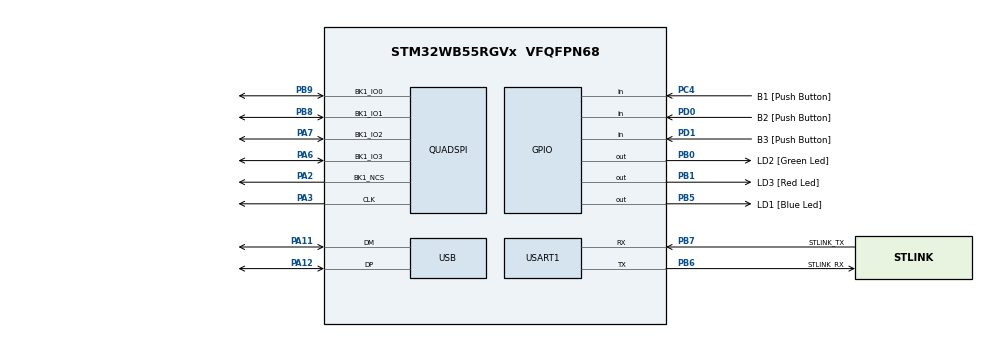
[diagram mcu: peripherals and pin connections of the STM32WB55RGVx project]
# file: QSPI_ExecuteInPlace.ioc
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Dma.QUADSPI.0.Direction=DMA_PERIPH_TO_MEMORY
Dma.QUADSPI.0.EventEnable=DISABLE
Dma.QUADSPI.0.Instance=DMA1_Channel5
Dma.QUADSPI.0.MemDataAlignment=DMA_MDATAALIGN_BYTE
Dma.QUADSPI.0.MemInc=DMA_MINC_ENABLE
Dma.QUADSPI.0.Mode=DMA_NORMAL
Dma.QUADSPI.0.PeriphDataAlignment=DMA_PDATAALIGN_BYTE
Dma.QUADSPI.0.PeriphInc=DMA_PINC_DISABLE
Dma.QUADSPI.0.Polarity=HAL_DMAMUX_REQ_GEN_RISING
Dma.QUADSPI.0.Priority=DMA_PRIORITY_LOW
Dma.QUADSPI.0.RequestNumber=1
Dma.QUADSPI.0.SignalID=NONE
Dma.QUADSPI.0.SyncEnable=DISABLE
Dma.QUADSPI.0.SyncPolarity=HAL_DMAMUX_SYNC_NO_EVENT
Dma.QUADSPI.0.SyncRequestNumber=1
Dma.QUADSPI.0.SyncSignalID=NONE
Dma.Request0=QUADSPI
Mcu.Family=STM32WB
Mcu.Name=STM32WB55RGVx
Mcu.Package=VFQFPN68
NVIC.DMA1_Channel5_IRQn=true\:0\:0\:false\:false\:true\:false\:true
NVIC.PriorityGroup=NVIC_PRIORITYGROUP_4
NVIC.QUADSPI_IRQn=true\:0\:0\:false\:false\:true\:true\:true
OSC_IN.Mode=HSE-External-Oscillator
OSC_IN.Signal=RCC_OSC_IN
OSC_OUT.Mode=HSE-External-Oscillator
OSC_OUT.Signal=RCC_OSC_OUT
PA11.Mode=Device
PA11.Signal=USB_DM
PA12.Mode=Device
PA12.Signal=USB_DP
PA13.GPIO_Label=JTMS
PA13.Mode=Trace_Asynchronous_SW
PA13.Signal=SYS_JTMS-SWDIO
PA14.GPIO_Label=JTCK
PA14.Mode=Trace_Asynchronous_SW
PA14.Signal=SYS_JTCK-SWCLK
PA2.GPIO_PuPd=GPIO_PULLUP
PA2.GPIO_Speed=GPIO_SPEED_FREQ_VERY_HIGH
PA2.Mode=Single Bank 1
PA2.Signal=QUADSPI_BK1_NCS
PA3.GPIO_Speed=GPIO_SPEED_FREQ_VERY_HIGH
PA3.Mode=Single Bank 1
PA3.Signal=QUADSPI_CLK
PA6.GPIO_Speed=GPIO_SPEED_FREQ_VERY_HIGH
PA6.Mode=Single Bank 1
PA6.Signal=QUADSPI_BK1_IO3
PA7.GPIO_Speed=GPIO_SPEED_FREQ_VERY_HIGH
PA7.Mode=Single Bank 1
PA7.Signal=QUADSPI_BK1_IO2
PB0.GPIO_Label=LD2 [Green Led]
PB0.Signal=GPIO_Output
PB1.GPIO_Label=LD3 [Red Led]
PB1.Signal=GPIO_Output
PB3.GPIO_Label=JTDO
PB3.Mode=Trace_Asynchronous_SW
PB3.Signal=SYS_JTDO-SWO
PB5.GPIO_Label=LD1 [Blue Led]
PB5.Signal=GPIO_Output
PB6.GPIO_Label=STLINK_RX
PB6.GPIO_PuPd=GPIO_PULLUP
PB6.Mode=Asynchronous
PB6.Signal=USART1_TX
PB7.GPIO_Label=STLINK_TX
PB7.GPIO_PuPd=GPIO_PULLUP
PB7.Mode=Asynchronous
PB7.Signal=USART1_RX
PB8.GPIO_Speed=GPIO_SPEED_FREQ_VERY_HIGH
PB8.Mode=Single Bank 1
PB8.Signal=QUADSPI_BK1_IO1
PB9.GPIO_Speed=GPIO_SPEED_FREQ_VERY_HIGH
PB9.Mode=Single Bank 1
PB9.Signal=QUADSPI_BK1_IO0
PC13.Mode=SYS_WakeUp1
PC13.Signal=SYS_WKUP2
PC14-OSC32_IN.Mode=LSE-External-Oscillator
PC14-OSC32_IN.Signal=RCC_OSC32_IN
PC15-OSC32_OUT.Mode=LSE-External-Oscillator
PC15-OSC32_OUT.Signal=RCC_OSC32_OUT
PC4.GPIO_Label=B1 [Push Button]
PC4.Signal=GPIO_Input
PD0.GPIO_Label=B2 [Push Button]
PD0.Signal=GPIO_Input
PD1.GPIO_Label=B3 [Push Button]
PD1.Signal=GPIO_Input
ProjectManager.HeapSize=0x200
ProjectManager.StackSize=0x400
ProjectManager.TargetToolchain=EWARM V8
QUADSPI.ClockPrescaler=2
QUADSPI.FifoThreshold=4
QUADSPI.FlashSize=22
QUADSPI.SampleShifting=QSPI_SAMPLE_SHIFTING_HALFCYCLE
RCC.ADCFreq_Value=48000000
RCC.AHB2CLKDivider=RCC_SYSCLK_DIV2
RCC.AHBFreq_Value=64000000
RCC.APB1Freq_Value=64000000
RCC.APB1TimFreq_Value=64000000
RCC.APB2Freq_Value=64000000
RCC.APB2TimFreq_Value=64000000
RCC.APB3Freq_Value=16000000
RCC.CortexFreq_Value=64000000
RCC.HCLKFreq_Value=64000000
RCC.HSE_VALUE=32000000
RCC.HSI48_VALUE=48000000
RCC.HSI_VALUE=16000000
RCC.PLLN=32
RCC.PLLSAI1N=24
RCC.SMPSCLockSelectionVirtual=RCC_SMPSCLKSOURCE_HSI
RCC.SMPSCLockSelectionVirtualVirtual=RCC_SMPSCLKSOURCE_HSI
RCC.SYSCLKFreq_VALUE=64000000
RCC.SYSCLKSource=RCC_SYSCLKSOURCE_PLLCLK
RCC.USBFreq_Value=48000000
RCC.VCOOutputFreq_Value=128000000
USART1.VirtualMode-Asynchronous=VM_ASYNC
USART1.WordLength=WORDLENGTH_7B
USB.Sof_enable=DISABLE
board=P-NUCLEO-WB55.Nucleo

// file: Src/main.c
/* USER CODE BEGIN Header */
/**
  ******************************************************************************
  * @file    QSPI/QSPI_ExecuteInPlace/Src/main.c
  * @author  MCD Application Team
  * @brief   This sample code shows how to erase part of the QSPI memory, write
  *          data in DMA mode and access to QSPI memory in memory-mapped mode.
  ******************************************************************************
  * @attention
  *
  * <h2><center>&copy; Copyright (c) 2019 STMicroelectronics.
  * All rights reserved.</center></h2>
  *
  * This software component is licensed by ST under BSD 3-Clause license,
  * the "License"; You may not use this file except in compliance with the
  * License. You may obtain a copy of the License at:
  *                        opensource.org/licenses/BSD-3-Clause
  *
  ******************************************************************************
  */
/* USER CODE END Header */
#include "main.h"

QSPI_HandleTypeDef hqspi;
DMA_HandleTypeDef hdma_quadspi;

UART_HandleTypeDef huart1;

PCD_HandleTypeDef hpcd_USB_FS;

/* USER CODE BEGIN PV */
#if defined(__CC_ARM)
extern uint32_t Load$$QSPI$$Base;
extern uint32_t Load$$QSPI$$Length;
#elif defined(__ICCARM__)
#pragma section =".qspi"
#pragma section =".qspi_init"
#elif defined(__GNUC__)
extern uint32_t _qspi_init_base;
extern uint32_t _qspi_init_length;
#endif

__IO uint8_t CmdCplt, RxCplt, TxCplt, StatusMatch;
/* USER CODE END PV */

void SystemClock_Config(void);
static void MX_GPIO_Init(void);
static void MX_DMA_Init(void);
static void MX_QUADSPI_Init(void);
static void MX_USART1_UART_Init(void);
static void MX_USB_PCD_Init(void);
/* USER CODE BEGIN PFP */
static void QSPI_WriteEnable(QSPI_HandleTypeDef *hqspi);
static void QSPI_AutoPollingMemReady(QSPI_HandleTypeDef *hqspi);
static void QSPI_DummyCyclesCfg(QSPI_HandleTypeDef *hqspi);
static void GpioToggle(void);
/* USER CODE END PFP */

int main(void)
{
  /* USER CODE BEGIN 1 */
  QSPI_CommandTypeDef      sCommand;
  QSPI_MemoryMappedTypeDef sMemMappedCfg;
  __IO uint32_t qspi_addr = 0;
  uint8_t *flash_addr;
  __IO uint8_t step = 0;
  uint32_t max_size, size;

  /* USER CODE END 1 */

  /* MCU Configuration--------------------------------------------------------*/

  /* Reset of all peripherals, Initializes the Flash interface and the Systick. */
  HAL_Init();

  /* Configure the system clock */
  SystemClock_Config();

  /* USER CODE BEGIN SysInit */
  BSP_LED_Init(LED1);
  BSP_LED_Init(LED2);
  BSP_LED_Init(LED3);
  /* USER CODE END SysInit */

  /* Initialize all configured peripherals */
  MX_GPIO_Init();
  MX_DMA_Init();
  MX_QUADSPI_Init();
  MX_USART1_UART_Init();
  MX_USB_PCD_Init();
  /* USER CODE BEGIN 2 */
  /* Initialize QSPI commande structure */
  sCommand.InstructionMode   = QSPI_INSTRUCTION_1_LINE;
  sCommand.AddressSize       = QSPI_ADDRESS_24_BITS;
  sCommand.AlternateByteMode = QSPI_ALTERNATE_BYTES_NONE;
  sCommand.DdrMode           = QSPI_DDR_MODE_DISABLE;
  sCommand.SIOOMode          = QSPI_SIOO_INST_EVERY_CMD;

  flash_addr = 0;
  size = 0;

#if defined(__CC_ARM)
  max_size = (uint32_t)(&Load$$QSPI$$Length);
#elif defined(__ICCARM__)
  max_size = __section_size(".qspi_init");
#elif defined(__GNUC__)
  max_size = (uint32_t)((uint8_t *)(&_qspi_init_length));
#endif
  /* USER CODE END 2 */

  /* Infinite loop */
  /* USER CODE BEGIN WHILE */
  while (1)
  {
    switch(step)
    {
      case 0:
        CmdCplt = 0;

        /* Enable write operations ------------------------------------------- */
        QSPI_WriteEnable(&hqspi);

        /* Erasing Sequence -------------------------------------------------- */
        sCommand.Instruction = SUBSECTOR_ERASE_CMD;
        sCommand.AddressMode = QSPI_ADDRESS_1_LINE;
        sCommand.Address     = qspi_addr;
        sCommand.DataMode    = QSPI_DATA_NONE;
        sCommand.DummyCycles = 0;

        if (HAL_QSPI_Command_IT(&hqspi, &sCommand) != HAL_OK)
        {
          Error_Handler();
        }

        step++;
        break;

      case 1:
        if(CmdCplt != 0)
        {
          CmdCplt = 0;
          StatusMatch = 0;

          /* Configure automatic polling mode to wait for end of erase ------- */
          QSPI_AutoPollingMemReady(&hqspi);

#if defined(__CC_ARM)
          flash_addr = (uint8_t *)(&Load$$QSPI$$Base);
#elif defined(__ICCARM__)
          flash_addr = (uint8_t *)(__section_begin(".qspi_init"));
#elif defined(__GNUC__)
          flash_addr = (uint8_t *)(&_qspi_init_base);
#endif

          /* Copy only one page if the section is bigger */
          if (max_size > QSPI_PAGE_SIZE)
          {
            size = QSPI_PAGE_SIZE;
          }
          else
          {
            size = max_size;
          }

          step++;
        }
        break;

      case 2:
        if(StatusMatch != 0)
        {
          StatusMatch = 0;
          TxCplt = 0;

          /* Enable write operations ----------------------------------------- */
          QSPI_WriteEnable(&hqspi);

          /* Writing Sequence ------------------------------------------------ */
          sCommand.Instruction = EXT_DUAL_IN_FAST_PROG_CMD;
          sCommand.AddressMode = QSPI_ADDRESS_2_LINES;
          sCommand.Address     = qspi_addr;
          sCommand.DataMode    = QSPI_DATA_2_LINES;
          sCommand.NbData      = size;

          if (HAL_QSPI_Command(&hqspi, &sCommand, HAL_QSPI_TIMEOUT_DEFAULT_VALUE) != HAL_OK)
          {
            Error_Handler();
          }

          if (HAL_QSPI_Transmit_DMA(&hqspi, flash_addr) != HAL_OK)
          {
            Error_Handler();
          }

          step++;

        }
        break;

      case 3:
        if(TxCplt != 0)
        {
          TxCplt = 0;
          StatusMatch = 0;

          /* Configure automatic polling mode to wait for end of program ----- */
          QSPI_AutoPollingMemReady(&hqspi);

          step++;
        }
        break;

      case 4:
        if(StatusMatch != 0)
        {
          qspi_addr += size;
          flash_addr += size;

          /* Check if a new page writing is needed */
          if (qspi_addr < max_size)
          {
            /* Update the remaining size if it is less than the page size */
            if ((qspi_addr + size) > max_size)
            {
              size = (max_size - qspi_addr);
            }
            step = 2;
          }
          else
          {
            StatusMatch = 0;
            RxCplt = 0;

            /* Configure Volatile Configuration register (with new dummy cycles) */
            QSPI_DummyCyclesCfg(&hqspi);

            /* Reading Sequence ------------------------------------------------ */
            sCommand.Instruction = QUAD_OUT_FAST_READ_CMD;
            sCommand.AddressMode = QSPI_ADDRESS_1_LINE;
            sCommand.DataMode    = QSPI_DATA_4_LINES;
            sCommand.DummyCycles = DUMMY_CLOCK_CYCLES_READ;

            sMemMappedCfg.TimeOutActivation = QSPI_TIMEOUT_COUNTER_DISABLE;

            if (HAL_QSPI_MemoryMapped(&hqspi, &sCommand, &sMemMappedCfg) != HAL_OK)
            {
              Error_Handler();
            }

            step++;
          }
        }
        break;

      case 5:
        /* Execute the code from QSPI memory ------------------------------- */
        GpioToggle();
        break;

      default :
        Error_Handler();
    }
    /* USER CODE END WHILE */

  }
}

void SystemClock_Config(void)
{
  RCC_OscInitTypeDef RCC_OscInitStruct = {0};
  RCC_ClkInitTypeDef RCC_ClkInitStruct = {0};
  RCC_PeriphCLKInitTypeDef PeriphClkInitStruct = {0};

  /** Configure LSE Drive Capability
  */
  HAL_PWR_EnableBkUpAccess();
  __HAL_RCC_LSEDRIVE_CONFIG(RCC_LSEDRIVE_LOW);
  /** Configure the main internal regulator output voltage
  */
  __HAL_PWR_VOLTAGESCALING_CONFIG(PWR_REGULATOR_VOLTAGE_SCALE1);
  /** Initializes the RCC Oscillators according to the specified parameters
  * in the RCC_OscInitTypeDef structure.
  */
  RCC_OscInitStruct.OscillatorType = RCC_OSCILLATORTYPE_HSI|RCC_OSCILLATORTYPE_HSE
                              |RCC_OSCILLATORTYPE_LSE|RCC_OSCILLATORTYPE_MSI;
  RCC_OscInitStruct.HSEState = RCC_HSE_ON;
  RCC_OscInitStruct.LSEState = RCC_LSE_ON;
  RCC_OscInitStruct.HSIState = RCC_HSI_ON;
  RCC_OscInitStruct.MSIState = RCC_MSI_ON;
  RCC_OscInitStruct.HSICalibrationValue = RCC_HSICALIBRATION_DEFAULT;
  RCC_OscInitStruct.MSICalibrationValue = RCC_MSICALIBRATION_DEFAULT;
  RCC_OscInitStruct.MSIClockRange = RCC_MSIRANGE_6;
  RCC_OscInitStruct.PLL.PLLState = RCC_PLL_ON;
  RCC_OscInitStruct.PLL.PLLSource = RCC_PLLSOURCE_MSI;
  RCC_OscInitStruct.PLL.PLLM = RCC_PLLM_DIV1;
  RCC_OscInitStruct.PLL.PLLN = 32;
  RCC_OscInitStruct.PLL.PLLP = RCC_PLLP_DIV2;
  RCC_OscInitStruct.PLL.PLLR = RCC_PLLR_DIV2;
  RCC_OscInitStruct.PLL.PLLQ = RCC_PLLQ_DIV2;
  if (HAL_RCC_OscConfig(&RCC_OscInitStruct) != HAL_OK)
  {
    Error_Handler();
  }
  /** Configure the SYSCLKSource, HCLK, PCLK1 and PCLK2 clocks dividers
  */
  RCC_ClkInitStruct.ClockType = RCC_CLOCKTYPE_HCLK4|RCC_CLOCKTYPE_HCLK2
                              |RCC_CLOCKTYPE_HCLK|RCC_CLOCKTYPE_SYSCLK
                              |RCC_CLOCKTYPE_PCLK1|RCC_CLOCKTYPE_PCLK2;
  RCC_ClkInitStruct.SYSCLKSource = RCC_SYSCLKSOURCE_PLLCLK;
  RCC_ClkInitStruct.AHBCLKDivider = RCC_SYSCLK_DIV1;
  RCC_ClkInitStruct.APB1CLKDivider = RCC_HCLK_DIV1;
  RCC_ClkInitStruct.APB2CLKDivider = RCC_HCLK_DIV1;
  RCC_ClkInitStruct.AHBCLK2Divider = RCC_SYSCLK_DIV2;
  RCC_ClkInitStruct.AHBCLK4Divider = RCC_SYSCLK_DIV1;

  if (HAL_RCC_ClockConfig(&RCC_ClkInitStruct, FLASH_LATENCY_3) != HAL_OK)
  {
    Error_Handler();
  }
  /** Initializes the peripherals clocks
  */
  PeriphClkInitStruct.PeriphClockSelection = RCC_PERIPHCLK_SMPS|RCC_PERIPHCLK_USART1
                              |RCC_PERIPHCLK_USB;
  PeriphClkInitStruct.PLLSAI1.PLLN = 24;
  PeriphClkInitStruct.PLLSAI1.PLLP = RCC_PLLP_DIV2;
  PeriphClkInitStruct.PLLSAI1.PLLQ = RCC_PLLQ_DIV2;
  PeriphClkInitStruct.PLLSAI1.PLLR = RCC_PLLR_DIV2;
  PeriphClkInitStruct.PLLSAI1.PLLSAI1ClockOut = RCC_PLLSAI1_USBCLK;
  PeriphClkInitStruct.Usart1ClockSelection = RCC_USART1CLKSOURCE_PCLK2;
  PeriphClkInitStruct.UsbClockSelection = RCC_USBCLKSOURCE_PLLSAI1;
  PeriphClkInitStruct.SmpsClockSelection = RCC_SMPSCLKSOURCE_HSI;
  PeriphClkInitStruct.SmpsDivSelection = RCC_SMPSCLKDIV_RANGE1;
  if (HAL_RCCEx_PeriphCLKConfig(&PeriphClkInitStruct) != HAL_OK)
  {
    Error_Handler();
  }
  /** Enable MSI Auto calibration
  */
  HAL_RCCEx_EnableMSIPLLMode();
}

static void MX_QUADSPI_Init(void)
{

  /* QUADSPI parameter configuration*/
  hqspi.Instance = QUADSPI;
  hqspi.Init.ClockPrescaler = 2;
  hqspi.Init.FifoThreshold = 4;
  hqspi.Init.SampleShifting = QSPI_SAMPLE_SHIFTING_HALFCYCLE;
  hqspi.Init.FlashSize = 22;
  hqspi.Init.ChipSelectHighTime = QSPI_CS_HIGH_TIME_1_CYCLE;
  hqspi.Init.ClockMode = QSPI_CLOCK_MODE_0;
  if (HAL_QSPI_Init(&hqspi) != HAL_OK)
  {
    Error_Handler();
  }

}

static void MX_USART1_UART_Init(void)
{

  huart1.Instance = USART1;
  huart1.Init.BaudRate = 115200;
  huart1.Init.WordLength = UART_WORDLENGTH_7B;
  huart1.Init.StopBits = UART_STOPBITS_1;
  huart1.Init.Parity = UART_PARITY_NONE;
  huart1.Init.Mode = UART_MODE_TX_RX;
  huart1.Init.HwFlowCtl = UART_HWCONTROL_NONE;
  huart1.Init.OverSampling = UART_OVERSAMPLING_16;
  huart1.Init.OneBitSampling = UART_ONE_BIT_SAMPLE_DISABLE;
  huart1.Init.ClockPrescaler = UART_PRESCALER_DIV1;
  huart1.AdvancedInit.AdvFeatureInit = UART_ADVFEATURE_NO_INIT;
  if (HAL_UART_Init(&huart1) != HAL_OK)
  {
    Error_Handler();
  }
  if (HAL_UARTEx_SetTxFifoThreshold(&huart1, UART_TXFIFO_THRESHOLD_1_8) != HAL_OK)
  {
    Error_Handler();
  }
  if (HAL_UARTEx_SetRxFifoThreshold(&huart1, UART_RXFIFO_THRESHOLD_1_8) != HAL_OK)
  {
    Error_Handler();
  }
  if (HAL_UARTEx_DisableFifoMode(&huart1) != HAL_OK)
  {
    Error_Handler();
  }

}

static void MX_USB_PCD_Init(void)
{

  hpcd_USB_FS.Instance = USB;
  hpcd_USB_FS.Init.dev_endpoints = 8;
  hpcd_USB_FS.Init.speed = PCD_SPEED_FULL;
  hpcd_USB_FS.Init.phy_itface = PCD_PHY_EMBEDDED;
  hpcd_USB_FS.Init.Sof_enable = DISABLE;
  hpcd_USB_FS.Init.low_power_enable = DISABLE;
  hpcd_USB_FS.Init.lpm_enable = DISABLE;
  hpcd_USB_FS.Init.battery_charging_enable = DISABLE;
  if (HAL_PCD_Init(&hpcd_USB_FS) != HAL_OK)
  {
    Error_Handler();
  }

}

static void MX_DMA_Init(void)
{

  /* DMA controller clock enable */
  __HAL_RCC_DMAMUX1_CLK_ENABLE();
  __HAL_RCC_DMA1_CLK_ENABLE();

  /* DMA interrupt init */
  /* DMA1_Channel5_IRQn interrupt configuration */
  HAL_NVIC_SetPriority(DMA1_Channel5_IRQn, 0, 0);
  HAL_NVIC_EnableIRQ(DMA1_Channel5_IRQn);

}

static void MX_GPIO_Init(void)
{
  GPIO_InitTypeDef GPIO_InitStruct = {0};

  /* GPIO Ports Clock Enable */
  __HAL_RCC_GPIOC_CLK_ENABLE();
  __HAL_RCC_GPIOB_CLK_ENABLE();
  __HAL_RCC_GPIOA_CLK_ENABLE();
  __HAL_RCC_GPIOD_CLK_ENABLE();

  /*Configure GPIO pin Output Level */
  HAL_GPIO_WritePin(GPIOB, LD2_Pin|LD3_Pin|LD1_Pin, GPIO_PIN_RESET);

  /*Configure GPIO pin : B1_Pin */
  GPIO_InitStruct.Pin = B1_Pin;
  GPIO_InitStruct.Mode = GPIO_MODE_INPUT;
  GPIO_InitStruct.Pull = GPIO_NOPULL;
  HAL_GPIO_Init(B1_GPIO_Port, &GPIO_InitStruct);

  /*Configure GPIO pins : LD2_Pin LD3_Pin LD1_Pin */
  GPIO_InitStruct.Pin = LD2_Pin|LD3_Pin|LD1_Pin;
  GPIO_InitStruct.Mode = GPIO_MODE_OUTPUT_PP;
  GPIO_InitStruct.Pull = GPIO_NOPULL;
  GPIO_InitStruct.Speed = GPIO_SPEED_FREQ_LOW;
  HAL_GPIO_Init(GPIOB, &GPIO_InitStruct);

  /*Configure GPIO pins : B2_Pin B3_Pin */
  GPIO_InitStruct.Pin = B2_Pin|B3_Pin;
  GPIO_InitStruct.Mode = GPIO_MODE_INPUT;
  GPIO_InitStruct.Pull = GPIO_NOPULL;
  HAL_GPIO_Init(GPIOD, &GPIO_InitStruct);

}

/* USER CODE BEGIN 4 */
/**
  * @brief  Command completed callbacks.
  * @param  hqspi QSPI handle
  * @retval None
  */
void HAL_QSPI_CmdCpltCallback(QSPI_HandleTypeDef *hqspi)
{
  CmdCplt++;
}

/**
  * @brief  Rx Transfer completed callbacks.
  * @param  hqspi QSPI handle
  * @retval None
  */
void HAL_QSPI_RxCpltCallback(QSPI_HandleTypeDef *hqspi)
{
  RxCplt++;
}

/**
  * @brief  Tx Transfer completed callbacks.
  * @param  hqspi QSPI handle
  * @retval None
  */
void HAL_QSPI_TxCpltCallback(QSPI_HandleTypeDef *hqspi)
{
  TxCplt++;
}

/**
  * @brief  Status Match callbacks
  * @param  hqspi QSPI handle
  * @retval None
  */
void HAL_QSPI_StatusMatchCallback(QSPI_HandleTypeDef *hqspi)
{
  StatusMatch++;
}

/**
  * @brief  This function send a Write Enable and wait it is effective.
  * @param  hqspi QSPI handle
  * @retval None
  */
static void QSPI_WriteEnable(QSPI_HandleTypeDef *hqspi)
{
  QSPI_CommandTypeDef     sCommand;
  QSPI_AutoPollingTypeDef sConfig;

  /* Enable write operations ------------------------------------------ */
  sCommand.InstructionMode   = QSPI_INSTRUCTION_1_LINE;
  sCommand.Instruction       = WRITE_ENABLE_CMD;
  sCommand.AddressMode       = QSPI_ADDRESS_NONE;
  sCommand.AlternateByteMode = QSPI_ALTERNATE_BYTES_NONE;
  sCommand.DataMode          = QSPI_DATA_NONE;
  sCommand.DummyCycles       = 0;
  sCommand.DdrMode           = QSPI_DDR_MODE_DISABLE;
  sCommand.SIOOMode          = QSPI_SIOO_INST_EVERY_CMD;

  if (HAL_QSPI_Command(hqspi, &sCommand, HAL_QSPI_TIMEOUT_DEFAULT_VALUE) != HAL_OK)
  {
    Error_Handler();
  }

  /* Configure automatic polling mode to wait for write enabling ---- */
  sConfig.Match           = 0x02;
  sConfig.Mask            = 0x02;
  sConfig.MatchMode       = QSPI_MATCH_MODE_AND;
  sConfig.StatusBytesSize = 1;
  sConfig.Interval        = 0x10;
  sConfig.AutomaticStop   = QSPI_AUTOMATIC_STOP_ENABLE;

  sCommand.Instruction    = READ_STATUS_REG_CMD;
  sCommand.DataMode       = QSPI_DATA_1_LINE;

  if (HAL_QSPI_AutoPolling(hqspi, &sCommand, &sConfig, HAL_QSPI_TIMEOUT_DEFAULT_VALUE) != HAL_OK)
  {
    Error_Handler();
  }
}

/**
  * @brief  This function read the SR of the memory and wait the EOP.
  * @param  hqspi QSPI handle
  * @retval None
  */
static void QSPI_AutoPollingMemReady(QSPI_HandleTypeDef *hqspi)
{
  QSPI_CommandTypeDef     sCommand;
  QSPI_AutoPollingTypeDef sConfig;

  /* Configure automatic polling mode to wait for memory ready ------ */
  sCommand.InstructionMode   = QSPI_INSTRUCTION_1_LINE;
  sCommand.Instruction       = READ_STATUS_REG_CMD;
  sCommand.AddressMode       = QSPI_ADDRESS_NONE;
  sCommand.AlternateByteMode = QSPI_ALTERNATE_BYTES_NONE;
  sCommand.DataMode          = QSPI_DATA_1_LINE;
  sCommand.DummyCycles       = 0;
  sCommand.DdrMode           = QSPI_DDR_MODE_DISABLE;
  sCommand.SIOOMode          = QSPI_SIOO_INST_EVERY_CMD;

  sConfig.Match           = 0x00;
  sConfig.Mask            = 0x01;
  sConfig.MatchMode       = QSPI_MATCH_MODE_AND;
  sConfig.StatusBytesSize = 1;
  sConfig.Interval        = 0x10;
  sConfig.AutomaticStop   = QSPI_AUTOMATIC_STOP_ENABLE;

  if (HAL_QSPI_AutoPolling_IT(hqspi, &sCommand, &sConfig) != HAL_OK)
  {
    Error_Handler();
  }
}

/**
  * @brief  This function configure the dummy cycles on memory side.
  * @param  hqspi QSPI handle
  * @retval None
  */
static void QSPI_DummyCyclesCfg(QSPI_HandleTypeDef *hqspi)
{
  QSPI_CommandTypeDef sCommand;
  uint8_t reg;

  /* Read Volatile Configuration register --------------------------- */
  sCommand.InstructionMode   = QSPI_INSTRUCTION_1_LINE;
  sCommand.Instruction       = READ_VOL_CFG_REG_CMD;
  sCommand.AddressMode       = QSPI_ADDRESS_NONE;
  sCommand.AlternateByteMode = QSPI_ALTERNATE_BYTES_NONE;
  sCommand.DataMode          = QSPI_DATA_1_LINE;
  sCommand.DummyCycles       = 0;
  sCommand.DdrMode           = QSPI_DDR_MODE_DISABLE;
  sCommand.SIOOMode          = QSPI_SIOO_INST_EVERY_CMD;
  sCommand.NbData            = 1;

  if (HAL_QSPI_Command(hqspi, &sCommand, HAL_QSPI_TIMEOUT_DEFAULT_VALUE) != HAL_OK)
  {
    Error_Handler();
  }

  if (HAL_QSPI_Receive(hqspi, &reg, HAL_QSPI_TIMEOUT_DEFAULT_VALUE) != HAL_OK)
  {
    Error_Handler();
  }

  /* Enable write operations ---------------------------------------- */
  QSPI_WriteEnable(hqspi);

  /* Write Volatile Configuration register (with new dummy cycles) -- */
  sCommand.Instruction = WRITE_VOL_CFG_REG_CMD;
  MODIFY_REG(reg, 0xF0, (DUMMY_CLOCK_CYCLES_READ << POSITION_VAL(0xF0)));

  if (HAL_QSPI_Command(hqspi, &sCommand, HAL_QSPI_TIMEOUT_DEFAULT_VALUE) != HAL_OK)
  {
    Error_Handler();
  }

  if (HAL_QSPI_Transmit(hqspi, &reg, HAL_QSPI_TIMEOUT_DEFAULT_VALUE) != HAL_OK)
  {
    Error_Handler();
  }
}

/**
  * @brief  Toggle the GPIOs
  * @param  None
  * @retval None
  */
#if defined(__CC_ARM)
#pragma arm section code = ".qspi"
#pragma no_inline
static void GpioToggle(void)
#elif defined(__ICCARM__)
static void GpioToggle(void) @ ".qspi"
#elif defined(__GNUC__)
static void __attribute__((section(".qspi"), noinline)) GpioToggle(void)
#endif
{
  BSP_LED_Toggle(LED2);
  /* Insert delay 100 ms */
  HAL_Delay(100);
  BSP_LED_Toggle(LED1);
  /* Insert delay 100 ms */
  HAL_Delay(100);
}
#if defined(__CC_ARM)
#pragma arm section code
#endif

/* USER CODE END 4 */

void Error_Handler(void)
{
  /* USER CODE BEGIN Error_Handler_Debug */
  /* User can add his own implementation to report the HAL error return state */
  BSP_LED_On(LED3);

  while(1)
  {
  }
  /* USER CODE END Error_Handler_Debug */
}

/************************ (C) COPYRIGHT STMicroelectronics *****END OF FILE****/
